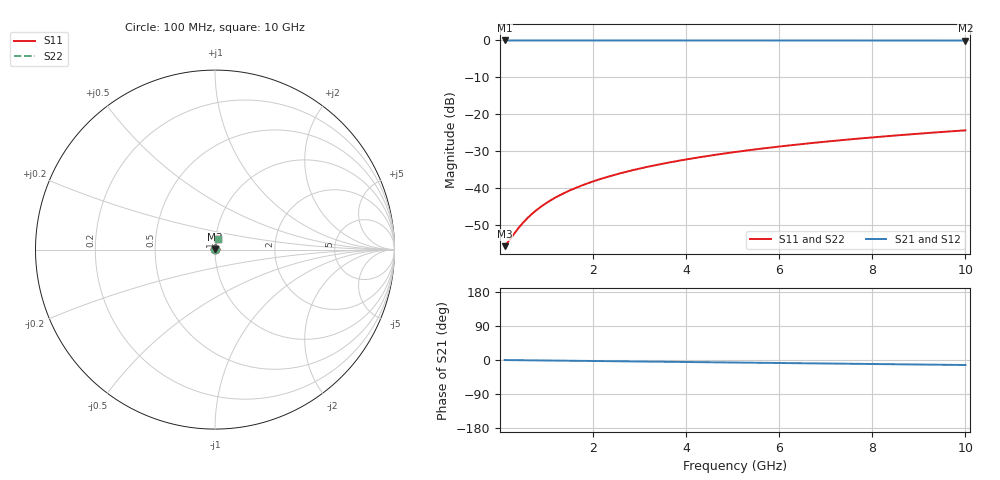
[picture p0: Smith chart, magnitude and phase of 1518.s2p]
# Hz S RI R 50.00
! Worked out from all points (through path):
!   100 points, 100 MHz to 10 GHz, reference 50 ohm
!   highest |S21| = -0.01 dB at 100 MHz (marker M1); lowest = 0.0 dB at 10 GHz (marker M2)
!   group delay of S21, straight-line fit = 3.67 ps
!   lowest |S11| = -55.8 dB at 100 MHz (marker M3), VSWR 1.00, Z = 50.2 + j0.0607 ohm
!   |S11| at or under -10 dB: start of sweep to end of sweep
!   |S22| runs from -55.8 to -24.4 dB; largest |S21 - S12| = 0
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1e8  0.00151 0.000605  0.9985 -0.00229  0.9985 -0.00229  0.00151 0.000605
2e8  0.00152 0.00121  0.9985 -0.00459  0.9985 -0.00459  0.00152 0.00121
4e8  0.00155 0.00242  0.9984 -0.00918  0.9984 -0.00918  0.00155 0.00242
5e8  0.00157 0.00302  0.9984 -0.0115  0.9984 -0.0115  0.00157 0.00302
6e8  0.00159 0.00363  0.9983 -0.0138  0.9983 -0.0138  0.00159 0.00363
7e8  0.00161 0.00423  0.9983 -0.0161  0.9983 -0.0161  0.00161 0.00423
8e8  0.00163 0.00484  0.9983 -0.0184  0.9983 -0.0184  0.00163 0.00484
1e9  0.00169 0.00605  0.9982 -0.0229  0.9982 -0.0229  0.00169 0.00605
1.2e9  0.00176 0.00725  0.998 -0.0275  0.998 -0.0275  0.00176 0.00725
1.5e9  0.00187 0.00907  0.9978 -0.0344  0.9978 -0.0344  0.00187 0.00907
1.8e9  0.00202 0.0109  0.9975 -0.0413  0.9975 -0.0413  0.00202 0.0109
2.1e9  0.00218 0.0127  0.9972 -0.0482  0.9972 -0.0482  0.00218 0.0127
2.5e9  0.00245 0.0151  0.9966 -0.0573  0.9966 -0.0573  0.00245 0.0151
2.9e9  0.00275 0.0175  0.996 -0.0665  0.996 -0.0665  0.00275 0.0175
3.4e9  0.00319 0.0205  0.9951 -0.078  0.9951 -0.078  0.00319 0.0205
4.2e9  0.00404 0.0252  0.9934 -0.0963  0.9934 -0.0963  0.00404 0.0252
5.1e9  0.00521 0.0306  0.991 -0.1168  0.991 -0.1168  0.00521 0.0306
5.9e9  0.00643 0.0352  0.9885 -0.1351  0.9885 -0.1351  0.00643 0.0352
6.7e9  0.00783 0.0399  0.9856 -0.1533  0.9856 -0.1533  0.00783 0.0399
7.5e9  0.0094 0.0445  0.9824 -0.1714  0.9824 -0.1714  0.0094 0.0445
8.4e9  0.0114 0.0496  0.9783 -0.1918  0.9783 -0.1918  0.0114 0.0496
1e10  0.0154 0.0584  0.97 -0.2278  0.97 -0.2278  0.0154 0.0584
